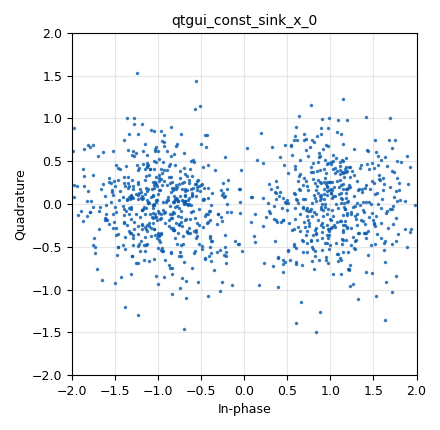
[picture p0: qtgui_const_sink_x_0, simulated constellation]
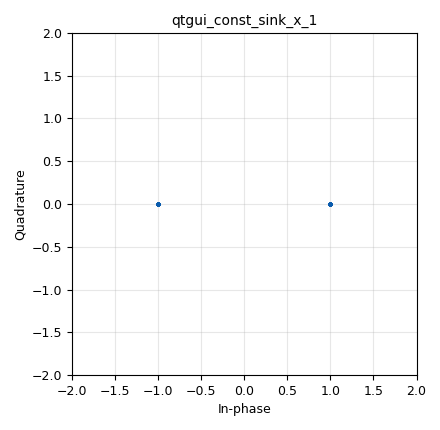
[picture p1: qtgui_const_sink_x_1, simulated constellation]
options:
  parameters:
    generate_options: qt_gui
    id: Lab4
    output_language: python
    realtime_scheduling: '1'
    run_options: run
    title: Not titled yet
  states: {}

blocks:
- name: EbN0
  id: variable_qtgui_range
  parameters:
    label: Eb/N0 (dB)
    start: '1'
    step: '1'
    stop: '11'
    value: '1'
  states: {}
- name: const
  id: variable
  parameters:
    value: (digital.constellation_bpsk(), digital.constellation_qpsk(), digital.constellation_8psk())
  states: {}
- name: const_type
  id: variable
  parameters:
    value: '0'
  states: {}
- name: samp_rate
  id: variable
  parameters:
    value: '32000'
  states: {}
- name: analog_noise_source_x_0
  id: analog_noise_source_x
  parameters:
    amp: 1.0/math.sqrt(2.0 * const[const_type].bits_per_symbol() * 10**(EbN0/10))
    noise_type: analog.GR_GAUSSIAN
    seed: '0'
    type: complex
  states: {}
- name: analog_random_source_x_0
  id: analog_random_source_x
  parameters:
    max: const[const_type].arity()
    min: '0'
    num_samps: '10000000'
    repeat: 'True'
    type: byte
  states: {}
- name: blocks_add_xx_0
  id: blocks_add_xx
  parameters:
    type: complex
  states: {}
- name: blocks_throttle2_0
  id: blocks_throttle2
  parameters:
    samples_per_second: samp_rate
    type: byte
  states: {}
- name: digital_chunks_to_symbols_xx_0
  id: digital_chunks_to_symbols_xx
  parameters:
    dimension: '1'
    in_type: byte
    out_type: complex
    symbol_table: '[-1,1]'
  states: {}
- name: digital_constellation_decoder_cb_0
  id: digital_constellation_decoder_cb
  parameters:
    constellation: digital.constellation_bpsk().base()
  states: {}
- name: fec_ber_bf_0
  id: fec_ber_bf
  parameters:
    test_mode: 'True'
  states: {}
- name: import_0
  id: import
  parameters:
    imports: import math
  states: {}
- name: qtgui_const_sink_x_0
  id: qtgui_const_sink_x
  parameters:
    size: '1024'
    type: complex
  states: {}
- name: qtgui_const_sink_x_1
  id: qtgui_const_sink_x
  parameters:
    size: '1024'
    type: complex
  states: {}
- name: qtgui_number_sink_0
  id: qtgui_number_sink
  parameters:
    graph_type: qtgui.NUM_GRAPH_HORIZ
    min: '0'
    name: '"BER"'
    type: float
  states: {}

connections:
- [analog_noise_source_x_0, '0', blocks_add_xx_0, '0']
- [analog_random_source_x_0, '0', blocks_throttle2_0, '0']
- [analog_random_source_x_0, '0', digital_chunks_to_symbols_xx_0, '0']
- [blocks_add_xx_0, '0', digital_constellation_decoder_cb_0, '0']
- [blocks_add_xx_0, '0', qtgui_const_sink_x_0, '0']
- [blocks_throttle2_0, '0', fec_ber_bf_0, '0']
- [digital_chunks_to_symbols_xx_0, '0', blocks_add_xx_0, '1']
- [digital_chunks_to_symbols_xx_0, '0', qtgui_const_sink_x_1, '0']
- [digital_constellation_decoder_cb_0, '0', fec_ber_bf_0, '1']
- [fec_ber_bf_0, '0', qtgui_number_sink_0, '0']

metadata:
  file_format: 1
  grc_version: 3.10.12.0
